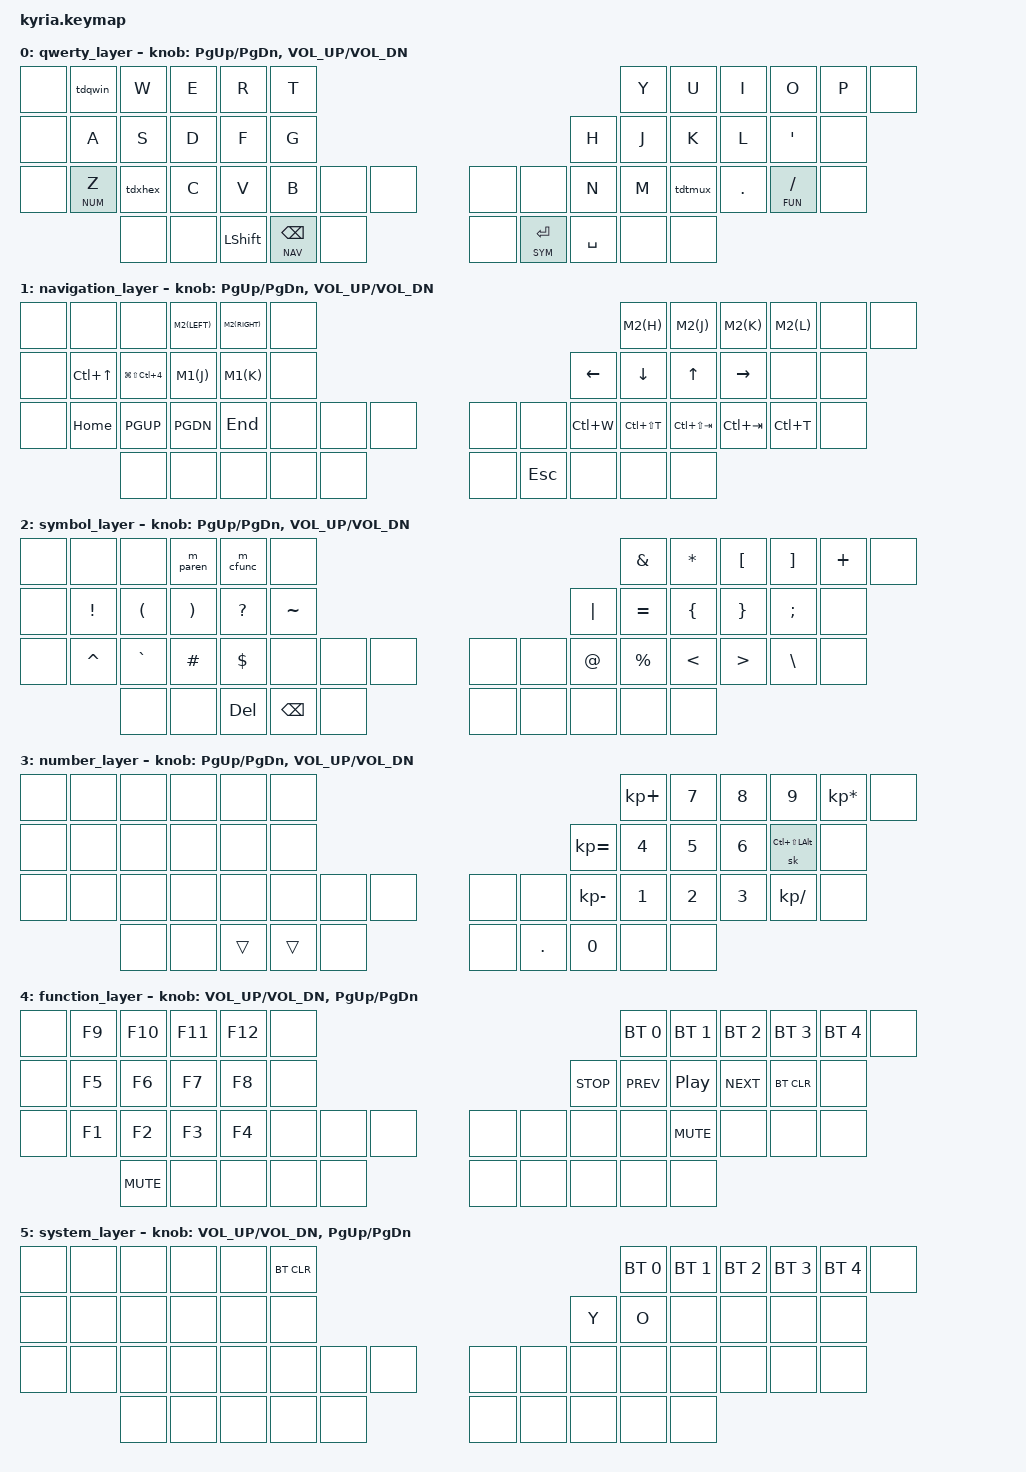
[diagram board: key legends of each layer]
/*
 * Copyright (c) 2020 The ZMK Contributors
 *
 * SPDX-License-Identifier: MIT
 */

#include <behaviors.dtsi>
#include <dt-bindings/zmk/keys.h>
#include <dt-bindings/zmk/bt.h>

#define QWE (0)
#define NAV (1)
#define SYM (2)
#define NUM (3)
#define FUN (4)
#define SYS (5)

#define MEH(x) LC(LS(LA((x))))
#define HYPR(x) LC(LS(LA(LG(x))))
#define M1(x) MEH((x))
#define M2(x) HYPR((x))
#define MOD1 LC(LS(LALT))
#define MOD2 LC(LS(LA(LGUI)))

#define OSX_MCL LC(UP)
#define OSX_SS LG(LS(LC(N4)))

// Browser controls
// new browser tab
#define N_NEBW LC(T)
// old browser tab
#define N_OLBW LC(LS(T))
// next browser
#define N_NBWS LC(TAB)
// prev browser
#define N_PBWS LC(LS(TAB))
// close browser
#define N_CLBW LC(W)

/*
 Layout Indices
 Left
 00 01 02 03 04 05
 12 13 14 15 16 17
 24 25 26 27 28 29 30 31
          40 41 42 43 44
                         Right
                               06 07 08 09 10 11
                               18 19 20 21 22 23
                         32 33 34 35 36 37 38 39
                         45 46 47 48 49
 */

&sk {
    release-after-ms = <3000>;
    quick-release;
};

&caps_word {
  continue-list = <UNDERSCORE BSPC>;
};

/ {
  conditional_layers {
    compatible = "zmk,conditional-layers";
    tri_layer {
      if-layers = <1 2>;
      then-layer = <5>;
    };
  };
  combos {
      compatible = "zmk,combos";
      // Both hands
      combo_esc {
          timeout-ms = <40>;
          key-positions = <42 47>;
          bindings = <&kp ESC>;
      };
      combo_capsword {
          timeout-ms = <50>;
          key-positions = <16 19>;
          bindings = <&caps_word>;
      };
      // Left
      combo_ctrl {
          timeout-ms = <50>;
          key-positions = <15 16>;
          bindings = <&sk LCTRL>;
      };
      combo_dquote {
          timeout-ms = <40>;
          key-positions = <14 15>;
          bindings = <&kp DQT>;
      };
      combo_tab {
          timeout-ms = <50>;
          key-positions = <27 28>;
          bindings = <&kp TAB>;
      };
      // Right
      combo_gui {
          timeout-ms = <50>;
          key-positions = <18 22>;
          bindings = <&sk RGUI>;
      };
      combo_alt {
          timeout-ms = <50>;
          key-positions = <19 22>;
          bindings = <&sk RALT>;
      };
      combo_underscore {
          timeout-ms = <50>;
          key-positions = <19 20>;
          bindings = <&kp UNDER>;
      };
      combo_colon {
          timeout-ms = <40>;
          key-positions = <20 21>;
          bindings = <&kp COLON>;
      };
      combo_dash {
          timeout-ms = <50>;
          key-positions = <19 21>;
          bindings = <&kp MINUS>;
      };
      combo_semicolon {
          timeout-ms = <50>;
          key-positions = <20 35>;
          bindings = <&kp SEMI>;
      };
  };

  macros {
    ZMK_MACRO(m_hex,
      wait-ms = <30>;
      tap-ms = <30>;
      bindings = <&kp N0 &kp X>;
    )
    ZMK_MACRO(m_cfunc,
      wait-ms = <30>;
      tap-ms = <30>;
      bindings = <&kp LBRC &kp RET &kp RBRC &kp LEFT &kp RET &kp UP &kp TAB>;
    )
    ZMK_MACRO(m_paren,
      wait-ms = <30>;
      tap-ms = <30>;
      bindings = <&kp LPAR &kp RPAR &kp LEFT>;
    )
  };

  behaviors {
    tdtmux: tap_dance_tmux {
      compatible = "zmk,behavior-tap-dance";
      label = "TAP_DANCE_TMUX";
      #binding-cells = <0>;
      tapping-term-ms = <200>;
      bindings = <&kp COMMA>, <&kp LC(A)>;
    };
    tdqwin: tap_dance_qwin {
      compatible = "zmk,behavior-tap-dance";
      label = "TAP_DANCE_QWIN";
      #binding-cells = <0>;
      tapping-term-ms = <250>;
      bindings = <&kp Q>, <&sk MOD1>, <&sk MOD2>;
    };
    tlt: thumb_layer_tap {
      compatible = "zmk,behavior-hold-tap";
      label = "THUMB_LAYER_TAP";
      #binding-cells = <2>;
      flavor = "tap-preferred";
      tapping-term-ms = <200>;
      quick-tap-ms = <200>;
      bindings = <&mo>, <&kp>;
    };
    klt: alphakey_layer_tap {
      compatible = "zmk,behavior-hold-tap";
      label = "ALPHAKEY_LAYER_TAP";
      #binding-cells = <2>;
      flavor = "balanced";
      tapping-term-ms = <150>;
      quick-tap-ms = <150>;
      global-quick-tap;
      bindings = <&mo>, <&kp>;
    };
    tdxhex: tap_dance_xhex {
      compatible = "zmk,behavior-tap-dance";
      label = "TAP_DANCE_XHEX";
      #binding-cells = <0>;
      tapping-term-ms = <200>;
      bindings = <&kp X>, <&m_hex>;
    };
  };

  keymap {
    compatible = "zmk,keymap";

    qwerty_layer {
      bindings = <
  &none  &tdqwin   &kp W  &kp E &kp R &kp T                                         &kp Y &kp U  &kp I   &kp O   &kp P        &none
  &none  &kp A     &kp S  &kp D &kp F &kp G                                         &kp H &kp J  &kp K   &kp L   &kp APOS     &none
  &none  &klt NUM Z &tdxhex &kp C &kp V &kp B &none &none          &none  &none      &kp N &kp M  &tdtmux &kp DOT &klt FUN FSLH &none
                   &none &none &kp LSHIFT &tlt NAV BSPC &none     &none  &tlt SYM RET &kp SPACE &none &none
      >;

      sensor-bindings = <&inc_dec_kp PG_UP PG_DN &inc_dec_kp C_VOL_UP C_VOL_DN >;
    };
    navigation_layer {
      bindings = <
  &none  &none   &none  &kp M2(LEFT) &kp M2(RIGHT) &none                                &kp M2(H) &kp M2(J) &kp M2(K) &kp M2(L) &none &none
  &none  &kp OSX_MCL   &kp OSX_SS  &kp M1(J) &kp M1(K) &none                             &kp LEFT &kp DOWN &kp UP &kp RIGHT &none &none
  &none  &kp HOME   &kp PGUP  &kp PGDN &kp END &none  &none &none             &none  &none &kp N_CLBW &kp N_OLBW &kp N_PBWS &kp N_NBWS &kp N_NEBW &none
                        &none &none &none  &none &none                        &none  &kp ESC &none &none &none
      >;

      sensor-bindings = <&inc_dec_kp PG_UP PG_DN &inc_dec_kp C_VOL_UP C_VOL_DN >;
    };
    symbol_layer {
      bindings = <
  &none  &none   &none  &m_paren &m_cfunc &none                                                      &kp AMPS &kp ASTRK &kp LBKT &kp RBKT &kp PLUS &none
  &none  &kp EXCL &kp LPAR  &kp RPAR &kp QMARK &kp TILDE                                       &kp PIPE &kp EQUAL &kp LBRC &kp RBRC &kp SEMI &none
  &none  &kp CARET &kp GRAVE &kp HASH &kp DLLR &none  &none &none                 &none  &none &kp AT   &kp PRCNT &kp LT   &kp GT   &kp BSLH &none
                        &none &none &kp DEL &kp BSPC &none                        &none  &none &none &none &none
      >;

      sensor-bindings = <&inc_dec_kp PG_UP PG_DN &inc_dec_kp C_VOL_UP C_VOL_DN >;
    };
    number_layer {
      bindings = <
  &none  &none   &none  &none &none &none                                                  &kp KP_PLUS &kp N7 &kp N8 &kp N9 &kp KP_MULTIPLY &none
  &none  &none   &none  &none &none &none                                                  &kp KP_EQUAL &kp N4 &kp N5 &kp N6 &sk MOD1 &none
  &none  &none   &none  &none &none &none  &none &none                        &none  &none &kp KP_MINUS &kp N1 &kp N2 &kp N3 &kp KP_DIVIDE &none
                        &none &none &trans &trans &none                        &none  &kp DOT &kp N0 &none &none
      >;

      sensor-bindings = <&inc_dec_kp PG_UP PG_DN &inc_dec_kp C_VOL_UP C_VOL_DN >;
    };
    function_layer {
      bindings = <
  &none &kp F9 &kp F10 &kp F11 &kp F12 &none                                             &bt BT_SEL 0 &bt BT_SEL 1 &bt BT_SEL 2 &bt BT_SEL 3 &bt BT_SEL 4 &none
  &none &kp F5 &kp F6  &kp F7  &kp F8  &none                                            &kp C_STOP &kp C_PREV &kp C_PP &kp C_NEXT &bt BT_CLR &none
  &none &kp F1 &kp F2  &kp F3  &kp F4  &none  &none &none                        &none  &none &none &none &kp C_MUTE &none &none &none
                        &kp C_MUTE &none &none  &none &none                        &none  &none &none &none &none
      >;

      sensor-bindings = <&inc_dec_kp C_VOL_UP C_VOL_DN &inc_dec_kp PG_UP PG_DN>;
    };
    system_layer {
      bindings = <
  &none  &none   &none  &none &none &bt BT_CLR                                             &bt BT_SEL 0 &bt BT_SEL 1 &bt BT_SEL 2 &bt BT_SEL 3 &bt BT_SEL 4 &none
  &none  &none   &none  &none &none &none                                                  &kp Y &kp O &none &none &none &none
  &none  &none   &none  &none &none &none &none &none                        &none  &none &none &none &none &none &none &none
                        &none &none &none &none &none                        &none  &none &none &none &none
      >;

      sensor-bindings = <&inc_dec_kp C_VOL_UP C_VOL_DN &inc_dec_kp PG_UP PG_DN>;
    };
  };
};
